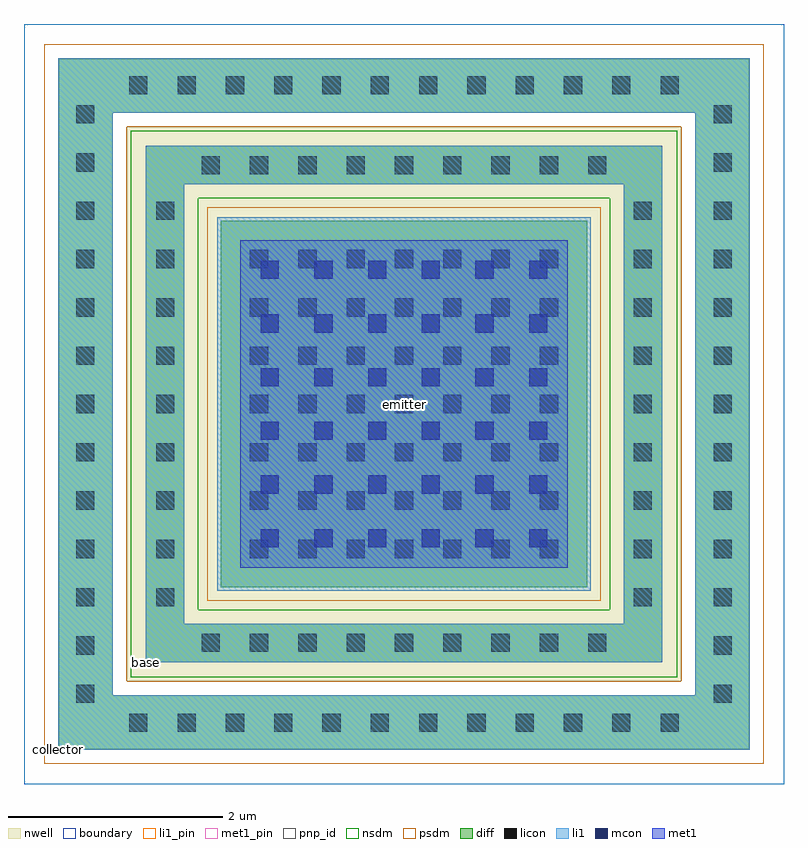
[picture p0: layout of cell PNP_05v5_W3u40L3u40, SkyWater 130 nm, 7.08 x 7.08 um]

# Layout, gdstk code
import gdstk
lib = gdstk.Library(unit=1e-6, precision=1e-09)
def R(c, l, rs):  # rectangles x0, y0, x1, y1
    for r in rs: c.add(gdstk.rectangle(r[:2], r[2:], *l))
def A(c, l, x, y, w, h, nx, ny, dx, dy):  # array of equal rectangles
    R(c, l, [(x+i*dx, y+j*dy, x+i*dx+w, y+j*dy+h) for i in range(nx) for j in range(ny)])
def P(c, l, *ps):  # polygons
    for p in ps: c.add(gdstk.Polygon(p, *l))
nwell = (64, 20)
diff = (65, 20)
licon = (66, 44)
li1_pin = (67, 16)
li1 = (67, 20)
mcon = (67, 44)
met1_pin = (68, 16)
met1 = (68, 20)
pnp_id = (82, 44)
nsdm = (93, 44)
psdm = (94, 20)
boundary = (235, 4)

pnp_05v5_w3u40l3u40 = lib.new_cell('PNP_05v5_W3u40L3u40')
R(pnp_05v5_w3u40l3u40, nwell, [(-2.585,-2.585,2.585,2.585)])
R(pnp_05v5_w3u40l3u40, diff, [(-1.705,-1.705,1.705,1.705)])
P(pnp_05v5_w3u40l3u40, diff, [(-2.405,-2.405),(-2.405,2.045),(-2.045,2.045),(-2.045,-2.045),(2.045,-2.045),(2.045,2.045),(-2.405,2.045),(-2.405,2.405),(2.405,2.405),(2.405,-2.405)],
  [(-3.22,-3.22),(-3.22,2.715),(-2.715,2.715),(-2.715,-2.715),(2.715,-2.715),(2.715,2.715),(-3.22,2.715),(-3.22,3.22),(3.22,3.22),(3.22,-3.22)])
A(pnp_05v5_w3u40l3u40, licon, -2.56, -3.055, 0.17, 0.17, 12, 2, 0.45, 5.94)
A(pnp_05v5_w3u40l3u40, licon, -3.055, -2.785, 0.17, 0.17, 1, 13, 0, 0.45)
A(pnp_05v5_w3u40l3u40, licon, 2.885, -2.785, 0.17, 0.17, 1, 13, 0, 0.45)
A(pnp_05v5_w3u40l3u40, licon, -1.885, -2.31, 0.17, 0.17, 9, 2, 0.45, 4.45)
A(pnp_05v5_w3u40l3u40, licon, -2.31, -1.885, 0.17, 0.17, 1, 9, 0, 0.45)
A(pnp_05v5_w3u40l3u40, licon, 2.14, -1.885, 0.17, 0.17, 1, 9, 0, 0.45)
A(pnp_05v5_w3u40l3u40, licon, -1.435, -1.435, 0.17, 0.17, 7, 7, 0.45, 0.45)
P(pnp_05v5_w3u40l3u40, li1_pin, [(-2.405,-2.405),(-2.405,2.405),(2.405,2.405),(2.405,-2.405),(-2.045,-2.405),(-2.045,-2.045),(2.045,-2.045),(2.045,2.045),(-2.045,2.045),(-2.045,-2.405)],
  [(-3.22,-3.22),(-3.22,3.22),(3.22,3.22),(3.22,-3.22),(-2.715,-3.22),(-2.715,-2.715),(2.715,-2.715),(2.715,2.715),(-2.715,2.715),(-2.715,-3.22)])
R(pnp_05v5_w3u40l3u40, li1, [(-1.74,-1.74,1.74,1.74)])
P(pnp_05v5_w3u40l3u40, li1, [(-2.405,-2.405),(-2.405,2.045),(-2.045,2.045),(-2.045,-2.045),(2.045,-2.045),(2.045,2.045),(-2.405,2.045),(-2.405,2.405),(2.405,2.405),(2.405,-2.405)],
  [(-3.22,-3.22),(-3.22,2.715),(-2.715,2.715),(-2.715,-2.715),(2.715,-2.715),(2.715,2.715),(-3.22,2.715),(-3.22,3.22),(3.22,3.22),(3.22,-3.22)])
A(pnp_05v5_w3u40l3u40, mcon, -1.335, -1.335, 0.17, 0.17, 6, 6, 0.5, 0.5)
R(pnp_05v5_w3u40l3u40, met1_pin, [(-1.525,-1.525,1.525,1.525)])
R(pnp_05v5_w3u40l3u40, met1, [(-1.525,-1.525,1.525,1.525)])
R(pnp_05v5_w3u40l3u40, pnp_id, [(-3.215,-3.215,3.215,3.215)])
P(pnp_05v5_w3u40l3u40, nsdm, [(-2.545,-2.545),(-2.545,1.915),(-1.915,1.915),(-1.915,-1.915),(1.915,-1.915),(1.915,1.915),(-2.545,1.915),(-2.545,2.545),(2.545,2.545),(2.545,-2.545)])
R(pnp_05v5_w3u40l3u40, psdm, [(-1.835,-1.835,1.835,1.835)])
P(pnp_05v5_w3u40l3u40, psdm, [(-3.35,-3.35),(-3.35,2.585),(-2.585,2.585),(-2.585,-2.585),(2.585,-2.585),(2.585,2.585),(-3.35,2.585),(-3.35,3.35),(3.35,3.35),(3.35,-3.35)])
R(pnp_05v5_w3u40l3u40, boundary, [(-3.54,-3.54,3.54,3.54)])
pnp_05v5_w3u40l3u40.add(gdstk.Label('emitter', (0,0), layer=68, texttype=16))
pnp_05v5_w3u40l3u40.add(gdstk.Label('base', (-2.405,-2.405), layer=67, texttype=16))
pnp_05v5_w3u40l3u40.add(gdstk.Label('collector', (-3.22,-3.22), layer=67, texttype=16))

lib.write_gds('PNP_05v5_W3u40L3u40.gds')
